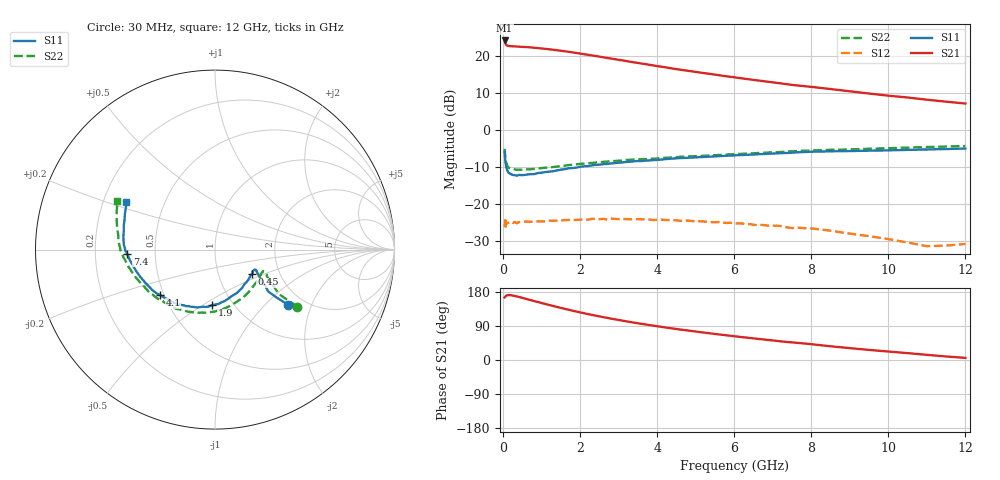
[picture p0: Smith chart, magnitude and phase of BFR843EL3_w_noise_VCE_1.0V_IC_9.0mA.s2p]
! Infineon Technologies  Discrete & RF Semiconductors
! BFR843EL3
! VCE =  1.0 V,  IC =  9.0 mA
! Common Emitter S-Parameters:  Aug 2013
# GHz  S  MA  R  50
!  f  S11  S21  S12  S22
! GHz  MAG  ANG  MAG  ANG  MAG  ANG  MAG  ANG
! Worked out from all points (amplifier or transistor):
!   103 points, 30 MHz to 12 GHz, reference 50 ohm
!   highest |S21| = 24.2 dB at 30 MHz (marker M1)
!   |S21| within 3 dB of that: start of sweep to 1.644 GHz
!   unconditionally stable (mu >= 1): 5.749 GHz to end of sweep
!   at 400 MHz: K = 0.99, MSG = 23.7 dB, |S12| = -24.9 dB
!   at 3.7 GHz: K = 0.82, MSG = 21.0 dB, |S12| = -24.2 dB
!   at 12 GHz: K = 3.29, MAG = 10.9 dB, |S12| = -30.8 dB
!   lowest NFmin = 0.88 dB at 450 MHz
!   S11 on the Smith chart (normalised r, x): 30 MHz: 1.66, -1.37; 450 MHz: 1.44, -0.42; 1.9 GHz: 0.80, -0.55; 4.1 GHz: 0.47, -0.28; 7.4 GHz: 0.34, -0.02; 12 GHz: 0.30, +0.23
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0.03  0.5073 -37.1  16.3 165.1  0.0489 33.5  0.5584 -34.7
0.04  0.4329 -37.9  15.39 166.3  0.0526 26.0  0.4787 -34.8
0.06  0.3451 -35.7  14.44 168.6  0.0492 13.0  0.3905 -32.3
0.1  0.2835 -30.6  13.89 170.9  0.0549 11.1  0.3306 -27.7
0.15  0.261 -27.2  13.68 171.4  0.0569 6.8  0.3058 -24.4
0.25  0.2457 -27.1  13.57 169.9  0.0553 5.7  0.2926 -24.1
0.45  0.2455 -33.9  13.38 165.1  0.0567 2.8  0.2902 -31.1
0.8  0.2532 -49.7  12.98 155.4  0.0578 3.1  0.2971 -46.7
1.2  0.2735 -68.1  12.37 144.9  0.0593 2.8  0.312 -64.4
1.5  0.2912 -79.4  11.82 137.3  0.0599 1.7  0.3258 -76.0
1.9  0.31 -93.1  11.02 127.7  0.0607 0.5  0.3444 -89.6
2.1  0.3234 -99.0  10.6 123.2  0.0622 0.0  0.3524 -96.3
2.6  0.3453 -112.8  9.634 113.0  0.0628 -1.3  0.3708 -109.8
3.2  0.37 -125.4  8.557 101.9  0.0623 -3.0  0.3938 -122.9
3.5  0.3804 -131.5  8.07 96.8  0.0622 -5.1  0.3996 -128.8
4.1  0.3979 -140.6  7.2 87.5  0.0613 -6.9  0.4159 -138.3
5.1  0.4297 -154.3  6 73.7  0.0583 -10.3  0.4441 -152.2
6.1  0.457 -165.4  5.08 61.5  0.0545 -13.3  0.4737 -163.0
7.4  0.4903 -177.4  4.144 47.2  0.0478 -15.5  0.5124 -175.2
8.5  0.515 172.4  3.584 36.2  0.0434 -16.8  0.54 174.9
10.5  0.5383 159.0  2.754 18.1  0.03 -7.2  0.5788 161.4
12  0.5626 151.6  2.283 5.6  0.0287 23.7  0.6078 153.5
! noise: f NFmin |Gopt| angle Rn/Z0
0.45  0.88  0.07  46  0.12
0.9  0.9  0.08  59  0.12
1.5  0.92  0.09  69  0.12
1.9  0.94  0.09  73  0.12
2.4  0.95  0.1  86  0.12
3.5  0.99  0.12  103  0.12
5.5  1.05  0.17  137  0.11
8  1.12  0.28  173  0.08
10  1.18  0.4  211  0.06
